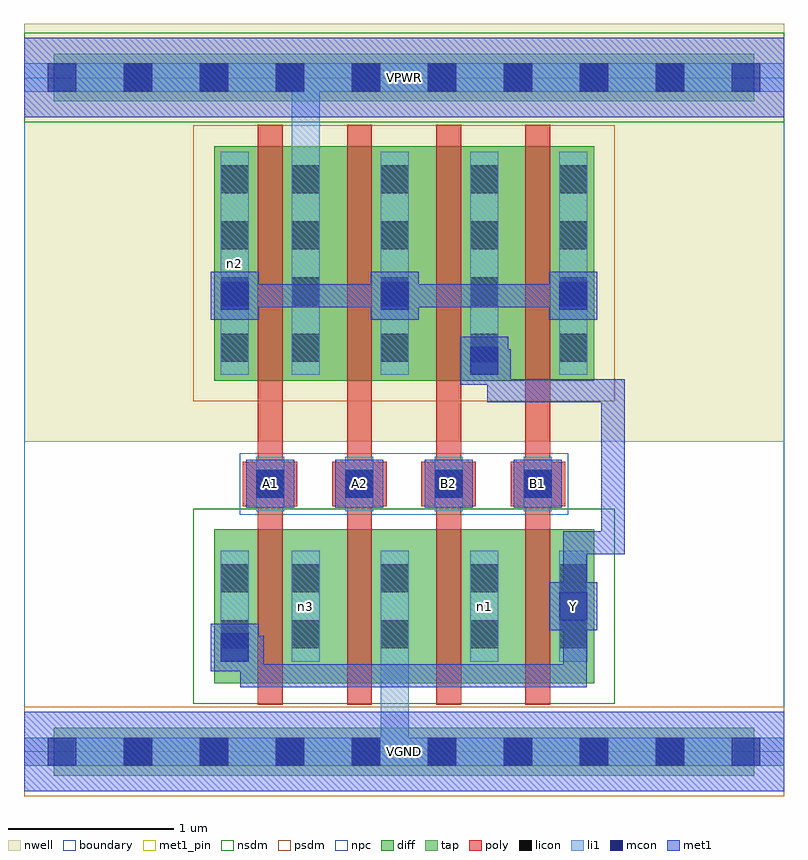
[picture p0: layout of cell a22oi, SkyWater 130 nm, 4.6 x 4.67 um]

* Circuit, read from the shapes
.subckt a22oi A1 A2 B1 B2 VGND VPWR Y n1 n2 n3
XM1 n3 A1 Y VGND sky130_fd_pr__nfet_01v8 w=0.93 l=0.15
XM2 VGND A2 n3 VGND sky130_fd_pr__nfet_01v8 w=0.93 l=0.15
XM3 n1 B2 VGND VGND sky130_fd_pr__nfet_01v8 w=0.93 l=0.15
XM4 Y B1 n1 VGND sky130_fd_pr__nfet_01v8 w=0.93 l=0.15
XM5 VPWR A1 n2 VPWR sky130_fd_pr__pfet_01v8 w=1.42 l=0.15
XM6 n2 A2 VPWR VPWR sky130_fd_pr__pfet_01v8 w=1.42 l=0.15
XM7 Y B2 n2 VPWR sky130_fd_pr__pfet_01v8 w=1.42 l=0.15
XM8 n2 B1 Y VPWR sky130_fd_pr__pfet_01v8 w=1.42 l=0.15
.ends

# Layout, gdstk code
import gdstk
lib = gdstk.Library(unit=1e-6, precision=1e-09)
def R(c, l, rs):  # rectangles x0, y0, x1, y1
    for r in rs: c.add(gdstk.rectangle(r[:2], r[2:], *l))
def A(c, l, x, y, w, h, nx, ny, dx, dy):  # array of equal rectangles
    R(c, l, [(x+i*dx, y+j*dy, x+i*dx+w, y+j*dy+h) for i in range(nx) for j in range(ny)])
nwell = (64, 20)
diff = (65, 20)
tap = (65, 44)
poly = (66, 20)
licon = (66, 44)
li1 = (67, 20)
mcon = (67, 44)
met1_pin = (68, 16)
met1 = (68, 20)
nsdm = (93, 44)
psdm = (94, 20)
npc = (95, 20)
boundary = (235, 4)

a22oi = lib.new_cell('a22oi')
R(a22oi, nwell, [(0,1.875,4.6,4.405)])
R(a22oi, diff, [(1.15,0.415,3.45,1.345), (1.15,2.245,3.45,3.665)])
R(a22oi, tap, [(0.18,-0.145,4.42,0.145), (0.18,3.935,4.42,4.225)])
A(a22oi, poly, 1.415, 0.285, 0.15, 3.51, 4, 1, 0.54, 0)
A(a22oi, poly, 1.325, 1.485, 0.33, 0.27, 4, 1, 0.54, 0)
A(a22oi, licon, 0.605, -0.085, 0.17, 0.17, 8, 2, 0.46, 4.08)
A(a22oi, licon, 1.62, 0.625, 0.17, 0.17, 4, 2, 0.54, 0.34)
A(a22oi, licon, 1.405, 1.535, 0.17, 0.17, 4, 1, 0.54, 0)
A(a22oi, licon, 1.19, 2.36, 0.17, 0.17, 1, 4, 0, 0.34)
A(a22oi, licon, 1.62, 2.36, 0.17, 0.17, 4, 4, 0.54, 0.34)
R(a22oi, licon, [(1.19,0.625,1.36,0.795), (1.19,0.965,1.36,1.135)])
A(a22oi, li1, 1.62, 0.545, 0.17, 0.67, 4, 1, 0.54, 0)
A(a22oi, li1, 1.405, 1.455, 0.17, 0.33, 4, 1, 0.54, 0)
A(a22oi, li1, 1.62, 2.28, 0.17, 1.35, 4, 1, 0.54, 0)
R(a22oi, li1, [(0,-0.085,4.6,0.085), (2.16,-0.085,2.33,1.215), (1.19,0.545,1.36,1.215), (1.19,2.28,1.36,3.63), (1.62,2.28,1.79,4.165), (0,3.995,4.6,4.165)])
A(a22oi, mcon, 0.145, -0.085, 0.17, 0.17, 10, 2, 0.46, 4.08)
A(a22oi, mcon, 1.405, 1.535, 0.17, 0.17, 4, 1, 0.54, 0)
R(a22oi, mcon, [(1.19,0.545,1.36,0.715), (3.24,0.795,3.41,0.965), (2.7,2.28,2.87,2.45), (1.19,2.675,1.36,2.845), (2.16,2.675,2.33,2.845), (3.24,2.675,3.41,2.845)])
A(a22oi, met1_pin, 1.345, 1.475, 0.29, 0.29, 4, 1, 0.54, 0)
R(a22oi, met1_pin, [(0,-0.24,4.6,0.24), (3.18,0.735,3.47,1.025), (0,3.84,4.6,4.32)])
A(a22oi, met1, 1.345, 1.475, 0.29, 0.29, 4, 1, 0.54, 0)
R(a22oi, met1, [(0,-0.24,4.6,0.24), (1.31,0.39,1.45,0.7), (1.31,0.39,3.405,0.53), (3.265,0.39,3.405,0.875), (1.13,0.485,1.42,0.775), (1.205,0.56,1.45,0.7), (3.18,0.735,3.47,1.025), (3.265,0.735,3.405,0.875), (3.265,0.735,3.405,1.335), (3.265,1.195,3.635,1.335), (3.495,1.195,3.635,2.255), (2.805,2.115,2.945,2.435), (2.805,2.115,3.635,2.255), (2.64,2.22,2.93,2.51), (2.715,2.295,2.945,2.435), (1.13,2.615,1.42,2.905), (2.1,2.615,2.39,2.905), (3.18,2.615,3.47,2.905), (1.205,2.69,1.45,2.83), (1.31,2.69,2.485,2.83), (2.175,2.69,2.485,2.83), (2.345,2.69,3.29,2.83), (3.15,2.69,3.395,2.83), (0,3.84,4.6,4.32)])
R(a22oi, nsdm, [(1.025,0.29,3.575,1.47), (0,3.81,4.6,4.35)])
R(a22oi, psdm, [(0,-0.27,4.6,0.27), (1.025,2.12,3.575,3.79)])
R(a22oi, npc, [(1.305,1.435,3.295,1.805)])
R(a22oi, boundary, [(0,0,4.6,4.08)])
a22oi.add(gdstk.Label('n3', (1.705,0.88), layer=67, texttype=5))
a22oi.add(gdstk.Label('n1', (2.785,0.88), layer=67, texttype=5))
a22oi.add(gdstk.Label('n2', (1.275,2.955), layer=67, texttype=5))
a22oi.add(gdstk.Label('A1', (1.49,1.62), layer=68, texttype=5))
a22oi.add(gdstk.Label('A2', (2.03,1.62), layer=68, texttype=5))
a22oi.add(gdstk.Label('B1', (3.11,1.62), layer=68, texttype=5))
a22oi.add(gdstk.Label('B2', (2.57,1.62), layer=68, texttype=5))
a22oi.add(gdstk.Label('Y', (3.325,0.88), layer=68, texttype=5))
a22oi.add(gdstk.Label('VPWR', (2.3,4.08), layer=68, texttype=5))
a22oi.add(gdstk.Label('VGND', (2.3,0), layer=68, texttype=5))
a22oi.add(gdstk.Label('A1', (1.49,1.62), layer=68, texttype=16))
a22oi.add(gdstk.Label('A2', (2.03,1.62), layer=68, texttype=16))
a22oi.add(gdstk.Label('B1', (3.11,1.62), layer=68, texttype=16))
a22oi.add(gdstk.Label('B2', (2.57,1.62), layer=68, texttype=16))
a22oi.add(gdstk.Label('Y', (3.325,0.88), layer=68, texttype=16))
a22oi.add(gdstk.Label('VPWR', (2.3,4.08), layer=68, texttype=16))
a22oi.add(gdstk.Label('VGND', (2.3,0), layer=68, texttype=16))

lib.write_gds('a22oi.gds')
